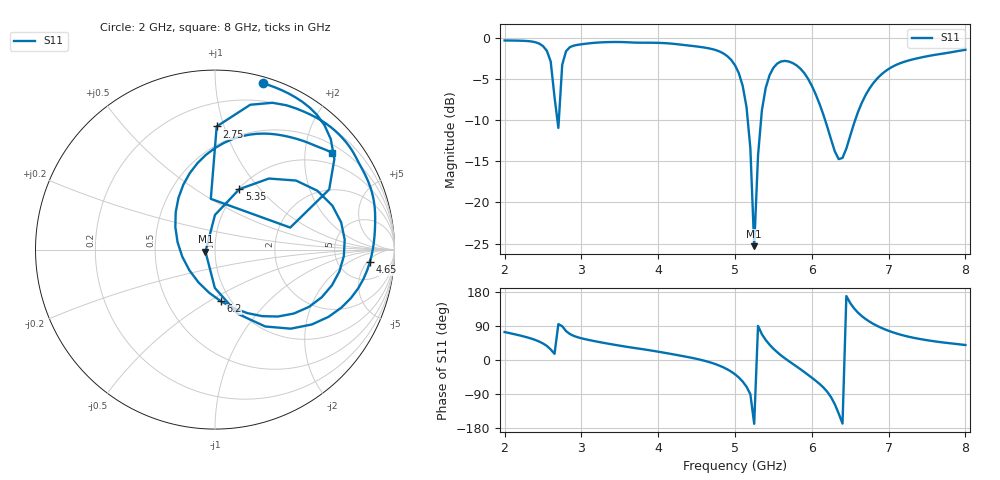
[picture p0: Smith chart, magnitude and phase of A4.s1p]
! Generated by Hertzon (EMerge FEM)
# HZ S RI R 50
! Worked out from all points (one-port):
!   121 points, 2 GHz to 8 GHz, reference 50 ohm
!   lowest |S11| = -25.3 dB at 5.25 GHz (marker M1), VSWR 1.11, Z = 44.9 - j0.982 ohm
!   |S11| at or under -10 dB: 2.687 GHz to 2.706 GHz (18.68 MHz wide, 0.693 % of centre); 5.166 GHz to 5.339 GHz (173.1 MHz wide, 3.3 % of centre); 6.174 GHz to 6.565 GHz (390.9 MHz wide, 6.14 % of centre)
!   S11 on the Smith chart (normalised r, x): 2 GHz: 0.05, +1.33; 2.75 GHz: 0.36, +0.94; 4.65 GHz: 11, -6; 5.35 GHz: 1.01, +0.78; 6.2 GHz: 0.90, -0.57; 8 GHz: 0.69, +2.62
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2e9  0.27 0.9261
2.45e9  0.6098 0.6936
2.6e9  0.6363 0.3352
2.65e9  0.4192 0.1226
2.7e9  -0.0234 0.2828
2.75e9  0.00936 0.6859
2.8e9  0.1964 0.807
2.95e9  0.4524 0.7863
3.5e9  0.7456 0.5786
4.25e9  0.8918 0.2044
4.65e9  0.8627 -0.0705
4.85e9  0.7577 -0.2696
5e9  0.5399 -0.417
5.15e9  0.127 -0.3579
5.2e9  -0.00095 -0.2136
5.25e9  -0.0532 -0.0109
5.3e9  -2.6e-05 0.1933
5.35e9  0.1357 0.3367
5.45e9  0.4518 0.3846
5.55e9  0.654 0.245
5.75e9  0.6934 -0.121
5.95e9  0.4398 -0.356
6.2e9  0.0328 -0.2878
6.35e9  -0.1429 -0.115
6.5e9  -0.2209 0.1253
6.85e9  -0.00085 0.5653
7.25e9  0.3418 0.6414
8e9  0.6529 0.5389
